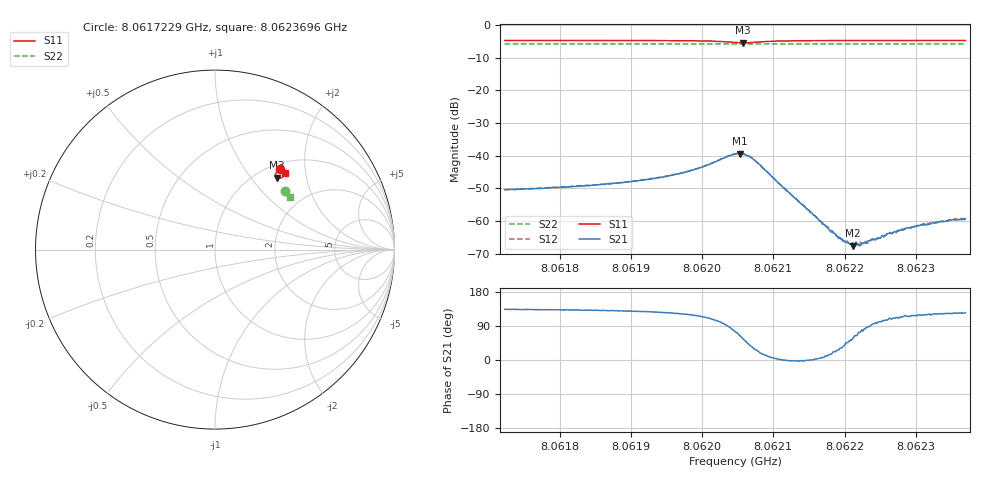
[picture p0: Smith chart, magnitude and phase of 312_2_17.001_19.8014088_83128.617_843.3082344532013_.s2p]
#  HZ  S  RI  R  50.00
! Rohde & Schwarz Vector Network Analyzer
! Rohde-Schwarz,ZNB20-2Port,1311601062101988,3.16
! Created: UTC 3/20/2024, 11:06:03 PM
! freq[Hz]  re:S11  im:S11  re:S21  im:S21  re:S12  im:S12  re:S22  im:S22
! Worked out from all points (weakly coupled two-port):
!   401 points, 8.0617229 GHz to 8.0623696 GHz, reference 50 ohm
!   highest |S21| = -39.35 dB at 8.0620527 GHz (marker M1); lowest = -67.5 dB at 8.0622112 GHz (marker M2)
!   lowest |S11| = -5.5 dB at 8.0620576 GHz (marker M3), VSWR 3.26, Z = 61.1 + j68.3 ohm
!   |S11| at or under -10 dB: nowhere
!   |S22| runs from -5.9 to -5.8 dB; largest |S21 - S12| = 0.00087
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8.06172286e9  0.3597 0.4498  -0.00207 0.00216  -0.00198 0.0023  0.3926 0.327
8.06183119e9  0.3672 0.4433  -0.00227 0.0026  -0.00215 0.00273  0.3968 0.3217
8.06188455e9  0.3712 0.4394  -0.00246 0.00295  -0.00226 0.00316  0.3988 0.319
8.06193953e9  0.3758 0.4336  -0.0027 0.00372  -0.00248 0.00395  0.4009 0.3162
8.0619945e9  0.3806 0.4224  -0.00285 0.00571  -0.00248 0.00596  0.4028 0.313
8.06204624e9  0.3614 0.3971  0.00271 0.0101  0.00328 0.0102  0.4034 0.3098
8.06205271e9  0.3528 0.3982  0.00461 0.00975  0.00519 0.00953  0.4033 0.3096
8.06205756e9  0.3466 0.4014  0.00602 0.00872  0.00654 0.00843  0.4034 0.3096
8.06206564e9  0.3399 0.4106  0.00737 0.0065  0.00773 0.00607  0.4032 0.3096
8.06207373e9  0.3386 0.4206  0.00752 0.00401  0.00773 0.00363  0.4037 0.3099
8.06215457e9  0.368 0.4384  0.00133 -6.38e-06  0.00131 -6.33e-05  0.4079 0.3064
8.06217882e9  0.3719 0.4368  0.000703 0.000188  0.000743 0.000124  0.409 0.3051
8.06219499e9  0.3741 0.4358  0.00045 0.000278  0.000485 0.000247  0.4095 0.3044
8.06221116e9  0.3759 0.4347  0.000238 0.000349  0.00026 0.000389  0.4103 0.3035
8.06222248e9  0.3771 0.4342  0.000112 0.000407  0.000137 0.000459  0.4107 0.3029
8.06223218e9  0.3782 0.4335  3.19e-05 0.000494  5.47e-05 0.000463  0.411 0.3024
8.06224026e9  0.3788 0.433  -5.13e-05 0.000531  2.41e-06 0.00052  0.4114 0.302
8.06225158e9  0.3799 0.4322  -0.000105 0.000566  -0.000114 0.000561  0.4117 0.3014
8.0622629e9  0.3809 0.4315  -0.000232 0.000618  -0.000161 0.000634  0.4121 0.3009
8.06231302e9  0.3847 0.4286  -0.000425 0.000761  -0.00039 0.000794  0.4138 0.2982
8.06235345e9  0.3875 0.4264  -0.000571 0.000878  -0.000517 0.000923  0.4153 0.2963
8.06236961e9  0.3885 0.4254  -0.000612 0.000889  -0.000549 0.000929  0.416 0.2953
